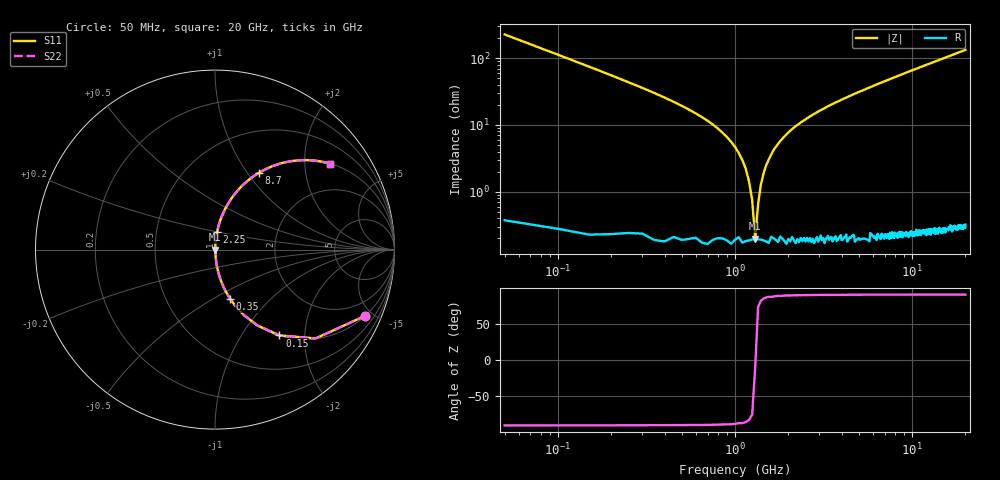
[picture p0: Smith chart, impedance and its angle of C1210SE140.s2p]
! AVX Thin Film Operation		Date: April 2012
! Description: Accu-P® Series, Thin Film, SMD, RF Capacitor
! Part Number: 12101J140FBTTR
!	50	MHz	-	20.05	GHz
!	Serial	Measurements
#	MHZ	S	MA	R	50
!	S11	S21	S12	S22
!	dB	Phase	dB	Phase	dB	Phase	dB	Phase
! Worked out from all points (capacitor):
!   400 points, 50 MHz to 20 GHz, reference 50 ohm
!   read as one part in series: C = 14 pF near 150 MHz
!   lowest |Z| = 197 mohm at 1.3 GHz (marker M1)
!   series resonance near 1.303 GHz, so ESL is about 1.1 nH
!   S11 on the Smith chart (normalised r, x): 50 MHz: 1.00, -4.54; 150 MHz: 1.00, -1.50; 350 MHz: 1.00, -0.60; 2.25 GHz: 1.00, +0.20; 8.7 GHz: 1.00, +1.14; 20 GHz: 1.01, +2.67
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50  0.915 -23.8  0.403 66.1  0.403 66.1  0.915 -23.8
100  0.748 -41.4  0.662 48.4  0.662 48.4  0.748 -41.4
150  0.598 -53.1  0.8 36.7  0.8 36.7  0.598 -53.1
250  0.4 -66.1  0.914 23.6  0.914 23.6  0.4 -66.1
350  0.288 -72.9  0.956 16.7  0.956 16.7  0.288 -72.9
900  0.066 -84.6  0.996 3.8  0.996 3.8  0.066 -84.6
1100  0.03 -84.7  0.998 1.7  0.998 1.7  0.03 -84.7
1200  0.014 -81.7  0.998 0.8  0.998 0.8  0.014 -81.7
1250  0.007442 -75.0  0.998 0.4  0.998 0.4  0.007442 -75.0
1300  0.001908 -11.1  0.998 0.0  0.998 0.0  0.001908 -11.1
1350  0.006483 72.9  0.998 -0.4  0.998 -0.4  0.006483 72.9
1400  0.013 80.8  0.998 -0.7  0.998 -0.7  0.013 80.8
1500  0.025 84.2  0.998 -1.4  0.998 -1.4  0.025 84.2
1750  0.052 85.0  0.997 -3.0  0.997 -3.0  0.052 85.0
2250  0.1 83.2  0.993 -5.7  0.993 -5.7  0.1 83.2
3400  0.19 78.4  0.98 -11.0  0.98 -11.0  0.19 78.4
6700  0.396 66.4  0.916 -23.3  0.916 -23.3  0.396 66.4
8700  0.494 60.2  0.867 -29.6  0.867 -29.6  0.494 60.2
10050  0.551 56.4  0.833 -33.4  0.833 -33.4  0.551 56.4
13350  0.662 48.4  0.747 -41.5  0.747 -41.5  0.662 48.4
16700  0.743 41.9  0.668 -48.0  0.668 -48.0  0.743 41.9
20000  0.799 36.8  0.599 -53.1  0.599 -53.1  0.799 36.8
